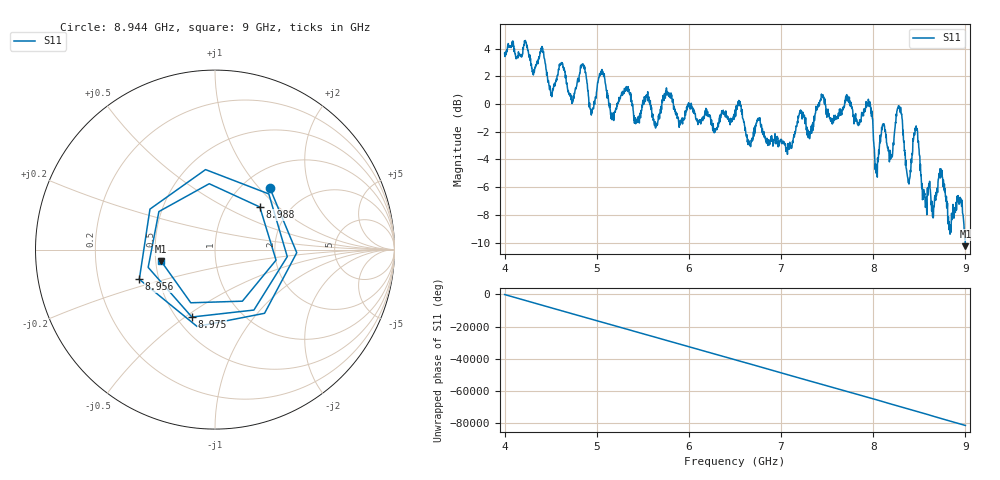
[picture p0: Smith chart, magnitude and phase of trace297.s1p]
! Created with skrf 1.8.0 (http://scikit-rf.org).
# Hz S RI R 50.0
!freq ReS11 ImS11
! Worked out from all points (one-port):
!   1601 points, 4 GHz to 9 GHz, reference 50 ohm
!   lowest |S11| = -10.3 dB at 9 GHz (marker M1), VSWR 1.89, Z = 26.7 - j3.84 ohm
!   |S11| at or under -10 dB: 8.998467 GHz to end of sweep
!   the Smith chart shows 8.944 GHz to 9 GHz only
!   S11 on the Smith chart (normalised r, x): 8.944 GHz: 1.31, +1.15; 8.956 GHz: 0.39, -0.16; 8.975 GHz: 0.59, -0.53; 8.988 GHz: 1.42, +0.77; 9 GHz: 0.53, -0.08
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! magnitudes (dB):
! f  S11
! 4 GHz  3.7
! 4.409 GHz  4.0
! 4.506 GHz  0.7
! 4.625 GHz  3.0
! 4.728 GHz  0.2
! 4.856 GHz  2.7
! 4.941 GHz  -0.8
! 5.053 GHz  2.2
! 5.162 GHz  -0.9
! 5.25 GHz  0.4
! 5.875 GHz  -1.0
! 6.5 GHz  -0.9
! 7.125 GHz  -2.7
! 7.75 GHz  0.2
! 7.962 GHz  0.0
! 8.038 GHz  -4.5
! 8.197 GHz  -3.7
! 8.288 GHz  -0.3
! 8.375 GHz  -5.3
! 8.466 GHz  -1.6
! 8.559 GHz  -6.5
! 8.728 GHz  -5.3
! 8.834 GHz  -9.4
! 8.944 GHz  -6.7
! 8.956 GHz  -6.9
! 8.975 GHz  -8.0
! 8.988 GHz  -9.3
! 9 GHz  -10.3
